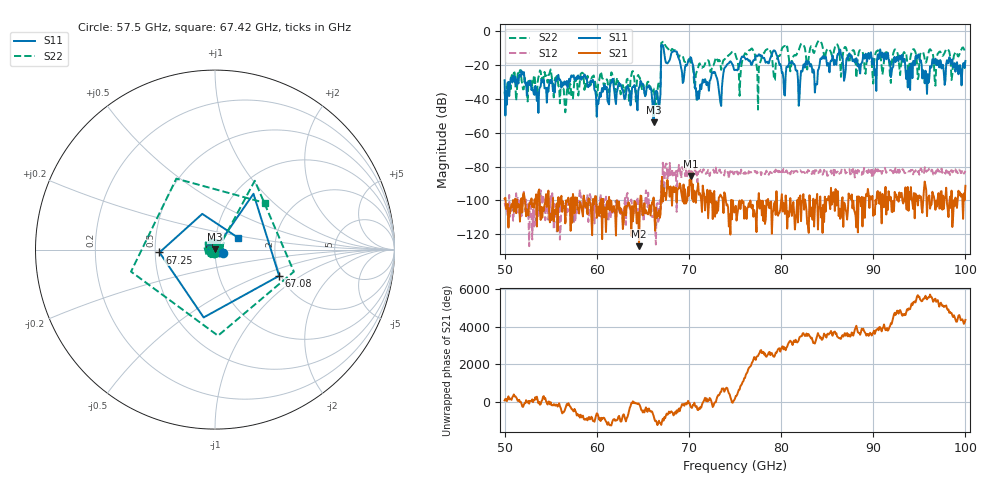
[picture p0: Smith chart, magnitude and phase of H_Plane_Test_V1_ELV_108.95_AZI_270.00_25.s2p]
! 11/27/2026 8:17:44 AM
! C:\ANRITSUVNA\TEMP\TEMP.S2P
! CHANNEL.1
! TR.MEASUREMENT
! RAW.DATA
# HZ S RI R 50.0
! FREQ.HZ  S11RE  S11IM  S21RE  S21IM  S12RE  S12IM  S22RE  S22IM
!; PortSelection: Port_12
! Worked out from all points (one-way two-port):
!   601 points, 50 GHz to 100 GHz, reference 50 ohm
!   highest |S21| = -85.55 dB at 70.25 GHz (marker M1); lowest = -127.0 dB at 64.58 GHz (marker M2)
!   lowest |S11| = -54.0 dB at 66.17 GHz (marker M3), VSWR 1.00, Z = 50.1 + j0.15 ohm
!   |S11| at or under -10 dB: start of sweep to 67 GHz; 67.24 GHz to end of sweep
!   |S22| runs from -48.0 to -5.6 dB; largest |S21 - S12| = 0.00013
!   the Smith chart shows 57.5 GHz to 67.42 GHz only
!   S11 on the Smith chart (normalised r, x): 57.5 GHz: 1.09, -0.05; 67.08 GHz: 1.96, -0.67; 67.25 GHz: 0.53, -0.02; 67.42 GHz: 1.29, +0.17
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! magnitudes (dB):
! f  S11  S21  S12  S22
! 50 GHz  -29.1  -99.0  -101.5  -35.8
! 51.67 GHz  -26.2  -112.5  -100.0  -23.1
! 57.5 GHz  -26.1  -99.6  -112.8  -34.4
! 58.42 GHz  -27.1  -106.5  -105.0  -24.6
! 60.17 GHz  -43.0  -103.6  -108.0  -30.2
! 64.58 GHz  -33.4  -127.0  -113.5  -27.2
! 66.17 GHz  -54.0  -98.3  -109.8  -33.9
! 66.67 GHz  -41.8  -109.2  -112.6  -31.6
! 67.08 GHz  -8.3  -86.0  -101.5  -6.8
! 67.25 GHz  -10.2  -92.6  -82.4  -6.3
! 67.42 GHz  -16.7  -95.5  -80.7  -8.4
! 70.25 GHz  -16.0  -85.6  -81.5  -18.8
! 70.92 GHz  -40.6  -93.6  -89.3  -23.1
! 75 GHz  -23.1  -106.6  -83.2  -13.0
! 79.25 GHz  -11.4  -101.8  -83.1  -28.9
! 80.25 GHz  -28.0  -101.3  -81.5  -9.3
! 83.42 GHz  -24.6  -111.4  -82.9  -10.8
! 91.67 GHz  -16.8  -94.6  -82.1  -15.3
! 93.75 GHz  -33.3  -92.1  -83.0  -21.8
! 94.83 GHz  -14.8  -103.0  -83.4  -28.5
! 95.83 GHz  -37.1  -109.2  -82.4  -16.4
! 100 GHz  -17.7  -91.4  -82.6  -12.6
